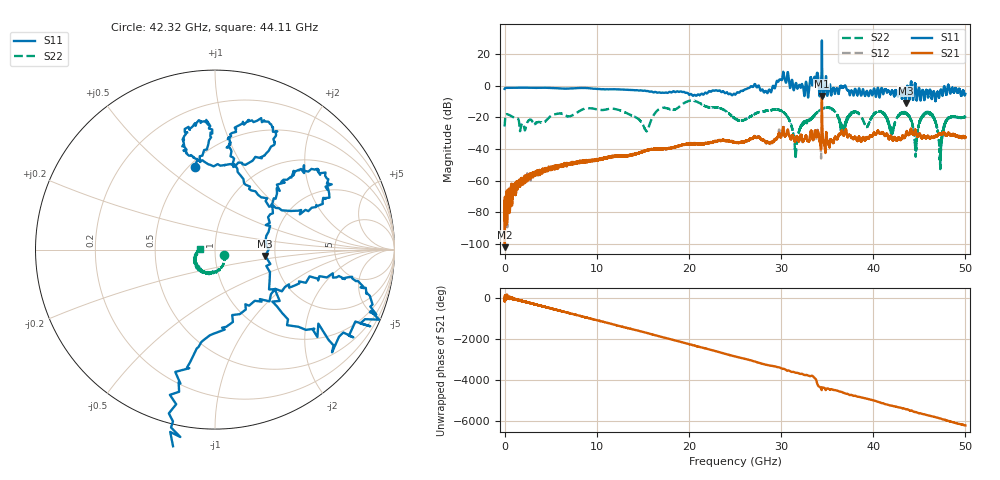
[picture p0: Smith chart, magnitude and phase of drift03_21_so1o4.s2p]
!Created with skrf (http://scikit-rf.org).
# Hz S RI R 50.0
!freq ReS11 ImS11 ReS21 ImS21 ReS12 ImS12 ReS22 ImS22
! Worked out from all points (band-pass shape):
!   10000 points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, 5.3 MHz to 50 GHz, reference 50 ohm
!   highest |S21| = -6.57 dB at 34.43 GHz (marker M1); lowest = -102.1 dB at 30.3 MHz (marker M2)
!   |S21| within 3 dB of the highest: 34.42746 GHz to 34.43548 GHz (8.021 MHz wide, 0.0233 % of centre)
!   lowest |S11| = -11.0 dB at 43.53 GHz (marker M3), VSWR 1.78, Z = 88.4 - j6.68 ohm
!   |S11| at or under -10 dB: 43.49461 GHz to 43.49558 GHz (974 kHz wide, 0.00224 % of centre); 43.50447 GHz to 43.53947 GHz (35 MHz wide, 0.0804 % of centre); 43.54072 GHz to 43.54772 GHz (6.998 MHz wide, 0.0161 % of centre)
!   |S22| runs from -52.8 to -9.4 dB; largest |S21 - S12| = 0.14
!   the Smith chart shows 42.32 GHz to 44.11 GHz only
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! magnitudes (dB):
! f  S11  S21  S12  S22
! 5.3 MHz  -2.1  -74.7  -78.2  -25.8
! 30.3 MHz  -1.8  -102.1  -78.4  -22.5
! 2.23 GHz  -1.3  -58.3  -59.6  -28.1
! 8.34 GHz  -1.5  -48.2  -47.7  -15.3
! 15.39 GHz  -3.4  -40.8  -40.8  -28.7
! 16.67 GHz  -4.4  -40.1  -40.1  -15.3
! 20.45 GHz  -6.5  -37.1  -36.6  -9.5
! 25.01 GHz  -5.5  -36.0  -35.9  -20.8
! 29.96 GHz  3.9  -32.7  -32.3  -15.8
! 31.6 GHz  1.5  -33.5  -33.7  -44.6
! 33.34 GHz  2.5  -30.0  -30.5  -20.5
! 34.43 GHz  28.5  -6.6  -8.7  -14.6
! 36.69 GHz  -1.3  -29.9  -29.7  -29.7
! 37.97 GHz  -3.1  -32.6  -32.5  -16.4
! 41.67 GHz  -3.2  -33.4  -33.3  -23.7
! 43.53 GHz  -11.0  -31.1  -31.3  -17.3
! 44.61 GHz  -1.1  -28.8  -29.0  -42.9
! 45.27 GHz  -3.9  -33.4  -33.2  -19.8
! 46.25 GHz  -4.4  -32.8  -32.4  -17.5
! 47.29 GHz  -3.0  -30.8  -30.8  -51.8
! 48.12 GHz  0.2  -30.0  -30.0  -20.7
! 50 GHz  -5.2  -32.8  -32.4  -19.6
